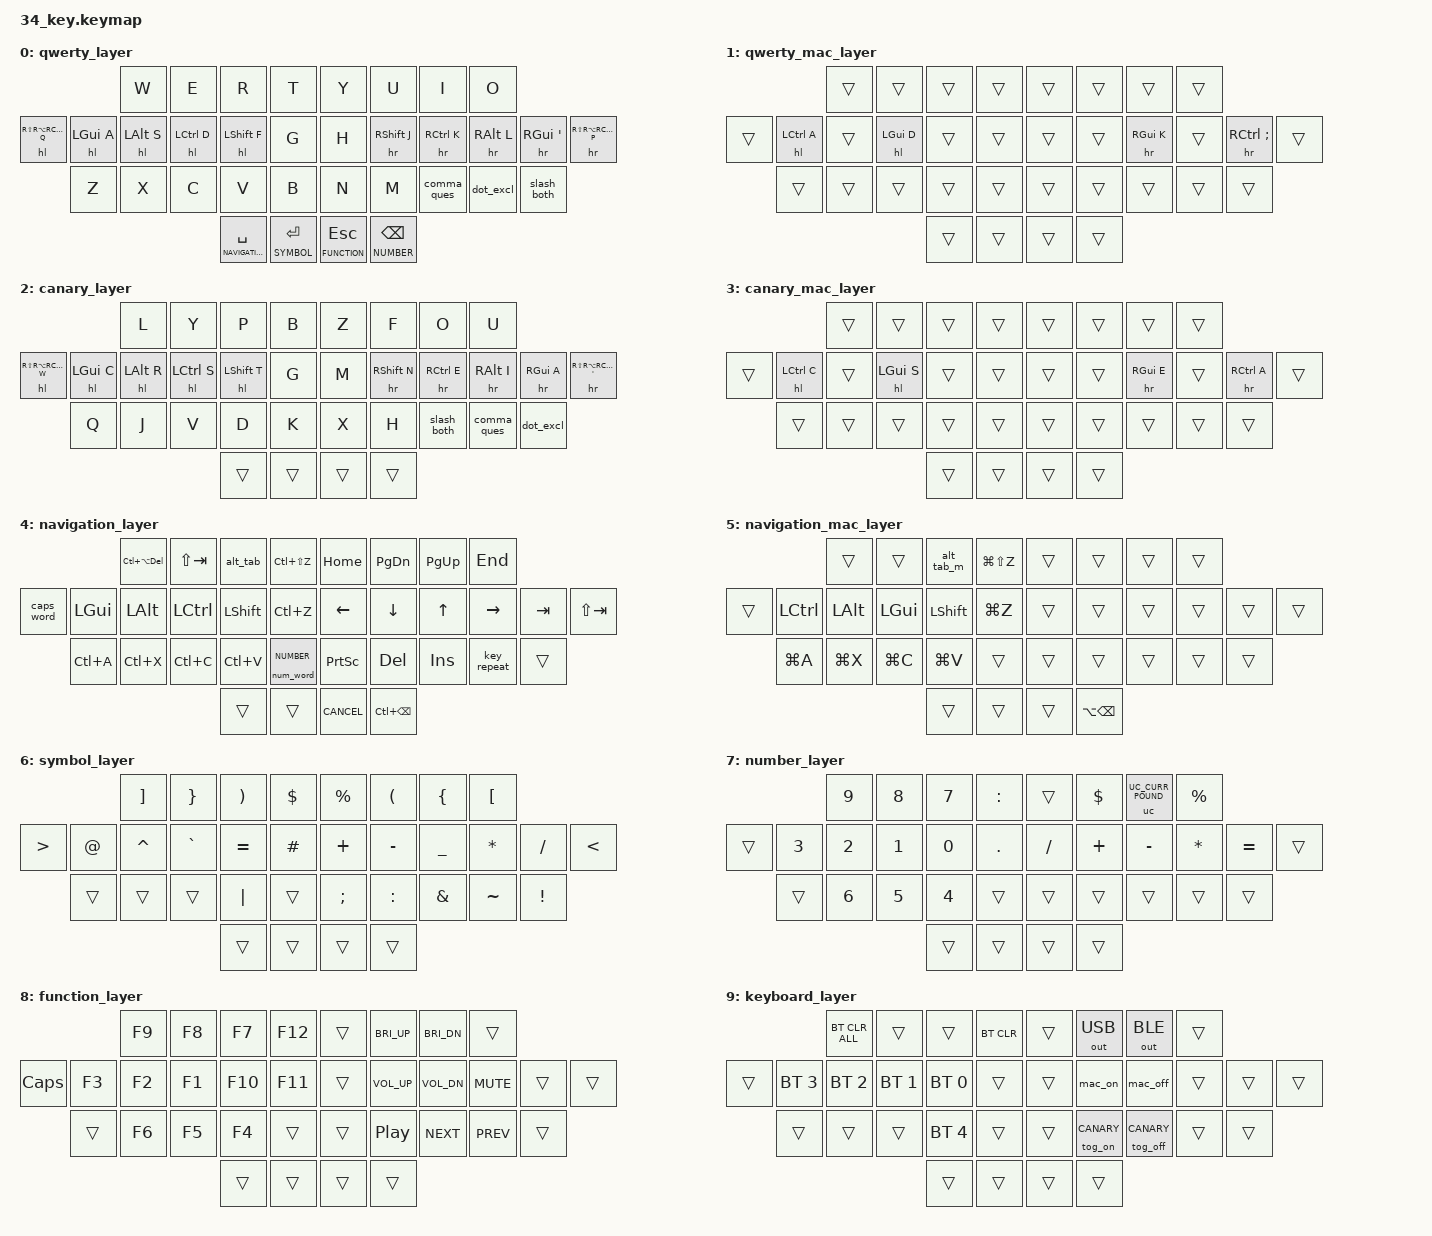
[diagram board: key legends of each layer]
#include <behaviors.dtsi>
#include <behaviors/unicode.dtsi>
#include <behaviors/num_word.dtsi>
#include <dt-bindings/zmk/keys.h>
#include <dt-bindings/zmk/bt.h>
#include <dt-bindings/zmk/outputs.h>
#include <dt-bindings/zmk/pointing.h>
#include "zmk-helpers/helper.h"
#include "clog.h"

#define KEYS_L LT0 LT1 LT2 LT3 LM0 LM1 LM2 LM3 LM4 LM5 LB0 LB1 LB2 LB3 LB4
#define KEYS_R RT0 RT1 RT2 RT3 RM0 RM1 RM2 RM3 RM4 RM5 RB0 RB1 RB2 RB3 RB4
#define KEYS_THUMB LH1 LH0 RH0 RH1

#define QWERTY         0
#define MAC            1
#define CANARY         2
#define CANARY_MAC     3
#define NAVIGATION     4
#define NAVIGATION_MAC 5
#define SYMBOL         6
#define NUMBER         7
#define FUNCTION       8
#define KEYBOARD       9

#define RHYP RS(RA(RC(RGUI)))

#define DEL_WORD &kp LC(BSPC)
#define DEL_WORD_M &kp LA(BSPC)

#define SEL_ALL &kp LC(A)
#define SEL_ALL_M &kp LG(A)

#define UNDO &kp LC(Z)
#define UNDO_M &kp LG(Z)

#define REDO &kp LC(LS(Z))
#define REDO_M &kp LG(LS(Z))

#define CUT &kp LC(X)
#define CUT_M &kp LG(X)

#define COPY &kp LC(C)
#define COPY_M &kp LG(C)

#define PASTE &kp LC(V)
#define PASTE_M &kp LG(V)

#define _ &trans
#define GBP UC_CURR_POUND

&uc {
  default-mode = <UC_MODE_WIN_ALT>;
};

&caps_word {
    continue-list = <UNDERSCORE MINUS BSPC DEL N0 N1 N2 N3 N4 N5 N6 N7 N8 N9 LGUI LALT LCTRL LSHFT LEFT DOWN UP RIGHT>;
};

&num_word {
    continue-list = <DOLLAR GBP DOT COMMA PLUS MINUS STAR FSLH EQUAL BSPC DEL LEFT DOWN UP RIGHT>;
    ignore-modifiers;
};

#define QUICK_TAP_MS 175
#define REQUIRE_PRIOR_IDLE_MS 100

&lt {
  flavor = "balanced";
  tapping-term-ms = <200>;
  quick-tap-ms = <QUICK_TAP_MS>;
};

ZMK_HOLD_TAP(hl,
    flavor = "balanced";
    tapping-term-ms = <280>;
    quick-tap-ms = <QUICK_TAP_MS>;
    require-prior-idle-ms = <REQUIRE_PRIOR_IDLE_MS>;
    bindings = <&kp>, <&kp>;
    hold-trigger-key-positions = <KEYS_R KEYS_THUMB>;
    hold-trigger-on-release;
)

ZMK_HOLD_TAP(hr,
    flavor = "balanced";
    tapping-term-ms = <280>;
    quick-tap-ms = <QUICK_TAP_MS>;
    require-prior-idle-ms = <REQUIRE_PRIOR_IDLE_MS>;
    bindings = <&kp>, <&kp>;
    hold-trigger-key-positions = <KEYS_L KEYS_THUMB>;
    hold-trigger-on-release;
)

ZMK_MOD_MORPH(dot_excl, bindings = <&kp DOT>, <&kp EXCL>; mods = <(MOD_LSFT|MOD_RSFT)>;)
ZMK_MOD_MORPH(comma_ques, bindings = <&kp COMMA>, <&kp QUESTION>; mods = <(MOD_LSFT|MOD_RSFT)>;)
ZMK_MOD_MORPH(slash_both, bindings = <&kp SLASH>, <&kp BACKSLASH>; mods = <(MOD_LSFT|MOD_RSFT)>;)

/ {
    behaviors {
        tog_on: toggle_layer_on_only {
            compatible = "zmk,behavior-toggle-layer";
            #binding-cells = <1>;
            toggle-mode = "on";
        };

        tog_off: toggle_layer_off_only {
            compatible = "zmk,behavior-toggle-layer";
            #binding-cells = <1>;
            toggle-mode = "off";
        };
    };
};

ZMK_MACRO(mac_on,
    bindings = <
        &tog_on MAC
        &uc UC_SET_MACOS
    >;
)

ZMK_MACRO(mac_off,
    bindings = <
        &tog_off MAC
        &uc UC_SET_WIN_ALT
    >;
)

ZMK_CONDITIONAL_LAYER(mac_navigation, MAC NAVIGATION, NAVIGATION_MAC)
ZMK_CONDITIONAL_LAYER(mac_canary, MAC CANARY, CANARY_MAC)

ZMK_CONDITIONAL_LAYER(kbd_layer, SYMBOL FUNCTION, KEYBOARD)

ZMK_TRI_STATE(alt_tab, bindings = <&kt LALT>, <&kp TAB>, <&kt LALT>; ignored-key-positions = <LT2 LT1 RM0 RM1 RM2 RM3>;)
ZMK_TRI_STATE(alt_tab_m, bindings = <&kt LCMD>, <&kp TAB>, <&kt LCMD>; ignored-key-positions = <LT2 LT1 RM0 RM1 RM2 RM3>;)

/ {
    keymap {
        compatible = "zmk,keymap";

        qwerty_layer {
            bindings = <
            //                      ╭──────────┬──────────┬──────────┬──────────╮   ╭──────────┬──────────┬──────────┬──────────╮
            //                      │  W       │  E       │  R       │  T       │   │  Y       │  U       │  I       │  O       │
                                       &kp W      &kp E      &kp R      &kp T          &kp Y      &kp U      &kp I      &kp O     
            //╭──────────┬──────────┼──────────┼──────────┼──────────┼──────────┤   ├──────────┼──────────┼──────────┼──────────┼──────────┬──────────╮
            //│  Q       │  A       │  S       │  D       │  F       │  G       │   │  H       │  J       │  K       │  L       │  ' "     │  P       │
              &hl RHYP Q &hl LGUI A &hl LALT S &hl LCTRL D &hl LSHFT F  &kp G         &kp H &hr RSHFT J &hr RCTRL K &hr RALT L &hr RGUI SQT &hr RHYP P
            //╰──────────┼──────────┼──────────┼──────────┼──────────┼──────────┤   ├──────────┼──────────┼──────────┼──────────┼──────────┼──────────╯
            //           │  Z       │  X       │  C       │  V       │  B       │   │  N       │  M       │ , ?      │ . !      │  / \     │
                            &kp Z      &kp X      &kp C      &kp V      &kp B          &kp N      &kp M    &comma_ques &dot_excl &slash_both
            //           ╰──────────┴──────────┴──────────┼──────────┼──────────┤   ├──────────┼──────────┼──────────┴──────────┴──────────╯
            //                                            │  SPACE   │  ENTER   │   │  ESCAPE  │BACKSPACE │
                                                    &lt NAVIGATION SPC &lt SYMBOL   ENTER &lt FUNCTION ESC &lt NUMBER BSPC
            //                                            ╰──────────┴──────────╯   ╰──────────┴──────────╯
            >;
        };

        qwerty_mac_layer {
            bindings = <
                _ _ _ _  _ _ _ _
                _ &hl LCTRL A _  &hl LGUI D _ _  _ _ &hr RGUI K _ &hr RCTRL SEMI _
                _ _ _ _ _  _ _ _ _ _
                _ _  _ _
            >;
        };

        canary_layer {
            bindings = <
            //                      ╭──────────┬──────────┬──────────┬──────────╮   ╭──────────┬──────────┬──────────┬──────────╮
            //                      │  L       │  Y       │  P       │  B       │   │  Z       │  F       │  O       │  U       │
                                       &kp L      &kp Y      &kp P      &kp B          &kp Z      &kp F      &kp O      &kp U     
            //╭──────────┬──────────┼──────────┼──────────┼──────────┼──────────┤   ├──────────┼──────────┼──────────┼──────────┼──────────┬──────────╮
            //│  W       │  C       │  R       │  S       │  T       │  G       │   │  M       │  N       │  E       │  I       │  A       │  ' "     │
              &hl RHYP W &hl LGUI C &hl LALT R &hl LCTRL S &hl LSHFT T  &kp G          &kp M &hr RSHFT N &hr RCTRL E &hr RALT I &hr RGUI A &hr RHYP SQT
            //╰──────────┼──────────┼──────────┼──────────┼──────────┼──────────┤   ├──────────┼──────────┼──────────┼──────────┼──────────┼──────────╯
            //           │  Q       │  J       │  V       │  D       │  K       │   │  X       │  H       │  / \     │ , ?      │ . !      │
                            &kp Q      &kp J      &kp V      &kp D      &kp K          &kp X      &kp H   &slash_both &comma_ques &dot_excl 
            //           ╰──────────┴──────────┴──────────┼──────────┼──────────┤   ├──────────┼──────────┼──────────┴──────────┴──────────╯
            //                                            │          │          │   │          │          │
                                                             _          _              _          _
            //                                            ╰──────────┴──────────╯   ╰──────────┴──────────╯
            >;
        };

        canary_mac_layer {
            bindings = <
                _ _ _ _  _ _ _ _
                _ &hl LCTRL C _  &hl LGUI S _ _  _ _ &hr RGUI E _ &hr RCTRL A _
                _ _ _ _ _  _ _ _ _ _
                _ _  _ _
            >;
        };

      
        navigation_layer {
            bindings = <
            //                      ╭──────────┬──────────┬──────────┬──────────╮   ╭──────────┬──────────┬──────────┬──────────╮
            //                      │ C+A+DEL  │ PREV WIN │ NEXT WIN │  REDO    │   │  HOME    │ PG DOWN  │  PG UP   │  END     │
                                &kp LC(LA(DEL)) &kp LS(TAB) &alt_tab    REDO          &kp HOME   &kp PG_DN  &kp PG_UP  &kp END      
            //╭──────────┬──────────┼──────────┼──────────┼──────────┼──────────┤   ├──────────┼──────────┼──────────┼──────────┼──────────┬──────────╮
            //│CAPS WORD │          │          │          │          │  UNDO    │   │  LEFT    │  DOWN    │  UP      │  RIGHT   │  TAB     │SHIFT+TAB │
               &caps_word  &kp LGUI   &kp LALT  &kp LCTRL  &kp LSHFT    UNDO          &kp LEFT   &kp DOWN    &kp UP   &kp RIGHT   &kp TAB   &kp LS(TAB) 
            //╰──────────┼──────────┼──────────┼──────────┼──────────┼──────────┤   ├──────────┼──────────┼──────────┼──────────┼──────────┼──────────╯
            //           │SELECT ALL│  CUT     │  COPY    │  PASTE   │ NUM WORD │   │ PRNTSCRN │  DELETE  │  INSERT  │  REPEAT  │          │
                           SEL_ALL     CUT        COPY       PASTE  &num_word NUMBER  &kp PSCRN   &kp DEL  &kp INSERT  &key_repeat  _ 
            //           ╰──────────┴──────────┴──────────█▀▀▀▀▀▀▀▀▀▀█──────────┤   ├──────────┼──────────┼──────────┴──────────┴──────────╯
            //                                            ▌          ▐          │   │  CANCEL  │ DEL WORD │
                                                             _          _           &kp K_CANCEL DEL_WORD
            //                                            ▙▄▄▄▄▄▄▄▄▄▄▟──────────╯   ╰──────────┴──────────╯
            >;
        };

        navigation_mac_layer {
            bindings = <
                _ _ &alt_tab_m REDO_M  _ _ _ _
                _ &kp LCTRL &kp LALT &kp LGUI &kp LSHFT UNDO_M  _ _ _ _ _ _
                SEL_ALL_M CUT_M COPY_M PASTE_M _  _ _ _ _ _
                _ _  _ DEL_WORD_M
            >;
        };

        symbol_layer {
            bindings = <
            //                      ╭──────────┬──────────┬──────────┬──────────╮   ╭──────────┬──────────┬──────────┬──────────╮
            //                      │  ]       │  }       │  )       │  $       │   │  %       │  (       │  {       │  [       │
                                      &kp RBKT   &kp RBRC   &kp RPAR  &kp DOLLAR     &kp PERCENT &kp LPAR   &kp LBRC   &kp LBKT 
            //╭──────────┬──────────┼──────────┼──────────┼──────────┼──────────┤   ├──────────┼──────────┼──────────┼──────────┼──────────┬──────────╮
            //│  >       │  @       │  ^       │  `       │  =       │  #       │   │  +       │  -       │  _       │  *       │  /       │  <       │
                 &kp GT     &kp AT    &kp CARET  &kp GRAVE  &kp EQUAL  &kp HASH       &kp PLUS   &kp MINUS  &kp UNDER  &kp ASTRK  &kp FSLH    &kp LT  
            //╰──────────┼──────────┼──────────┼──────────┼──────────┼──────────┤   ├──────────┼──────────┼──────────┼──────────┼──────────┼──────────╯
            //           │          │          │          │  |       │          │   │  ;       │  :       │  &       │  ~       │  !       │
                            _          _          _         &kp PIPE    _             &kp SEMI  &kp COLON   &kp AMPS  &kp TILDE   &kp EXCL  
            //           ╰──────────┴──────────┴──────────┤──────────█▀▀▀▀▀▀▀▀▀▀█   ├──────────┼──────────┼──────────┴──────────┴──────────╯
            //                                            │          ▌          ▐   │          │          │
                                                             _          _              _          _         
            //                                            ╰──────────▙▄▄▄▄▄▄▄▄▄▄▟   ╰──────────┴──────────╯
            >;
        };

        number_layer {
            bindings = <
            //                      ╭──────────┬──────────┬──────────┬──────────╮   ╭──────────┬──────────┬──────────┬──────────╮
            //                      │    9     │    8     │    7     │  :       │   │          │  $       │  £       │  %       │ 
                                       &kp N9     &kp N8     &kp N7   &kp COLON        _        &kp DOLLAR  &uc GBP  &kp PERCENT
            //╭──────────┬──────────┼──────────┼──────────┼──────────┼──────────┤   ├──────────┼──────────┼──────────┼──────────┼──────────┬──────────╮
            //│          │    3     │    2     │    1     │    0     │  .       │   │  /       │  +       │  -       │   *      │  =       │          │
                 _          &kp N3     &kp N2     &kp N1     &kp N0    &kp DOT       &kp SLASH   &kp PLUS  &kp MINUS  &kp ASTRK   &kp EQUAL   _
            //╰──────────┼──────────┼──────────┼──────────┼──────────┼──────────┤   ├──────────┼──────────┼──────────┼──────────┼──────────┼──────────╯
            //           │          │    6     │    5     │    4     │          │   │          │          │          │          │          │
                            _          &kp N6     &kp N5     &kp N4     _              _          _          _          _          _
            //           ╰──────────┴──────────┴──────────┤──────────┼──────────┼   ├──────────█▀▀▀▀▀▀▀▀▀▀█──────────┴──────────┴──────────╯
            //                                            │          │          │   │          ▌          ▐
                                                             _          _              _          _         
            //                                            ╰──────────┴──────────╯   ╰──────────▙▄▄▄▄▄▄▄▄▄▄▟
            >;
        };

        function_layer {
            bindings = <
            //                      ╭──────────┬──────────┬──────────┬──────────╮   ╭──────────┬──────────┬──────────┬──────────╮
            //                      │    F9    │    F8    │    F7    │   F12    │   │          │BRIGHT UP │BRIGHT DN │          │
                                       &kp F9     &kp F8     &kp F7    &kp F12         _      &kp C_BRI_UP &kp C_BRI_DN _       
            //╭──────────┬──────────┼──────────┼──────────┼──────────┼──────────┤   ├──────────┼──────────┼──────────┼──────────┼──────────┬──────────╮
            //│   CAPS   │   F3     │    F2    │    F1    │   F10    │   F11    │   │          │  VOL UP  │ VOL DOWN │  MUTE    │          │          │ 
                &kp CAPS    &kp F3     &kp F2     &kp F1    &kp F10    &kp F11         _       &kp C_VOL_UP &kp C_VOL_DN &kp C_MUTE _          _   
            //╰──────────┼──────────┼──────────┼──────────┼──────────┼──────────┤   ├──────────┼──────────┼──────────┼──────────┼──────────┼──────────╯
            //           │          │    F6    │    F5    │    F4    │          │   │          │PLAY/PAUSE│  NEXT    │ PREVIOUS │          │
                            _          &kp F6     &kp F5     &kp F4     _              _         &kp C_PP  &kp C_NEXT &kp C_PREV   _       
            //           ╰──────────┴──────────┴──────────┤──────────┼──────────┼   █▀▀▀▀▀▀▀▀▀▀█──────────┼──────────┴──────────┴──────────╯
            //                                            │          │          │   ▌          ▐          │
                                                             _          _              _          _         
            //                                            ╰──────────┴──────────╯   ▙▄▄▄▄▄▄▄▄▄▄▟──────────╯
            >;
        };

        keyboard_layer {
            bindings = <
            //                      ╭──────────┬──────────┬──────────┬──────────╮   ╭──────────┬──────────┬──────────┬──────────╮
            //                      │BT CLR ALL│          │          │  BT CLR  │   │          │ OUT USB  │ OUT BLE  │          │
                                  &bt BT_CLR_ALL  _          _        &bt BT_CLR       _      &out OUT_USB &out OUT_BLE _       
            //╭──────────┬──────────┼──────────┼──────────┼──────────┼──────────┤   ├──────────┼──────────┼──────────┼──────────┼──────────┬──────────╮
            //│          │  BT 3    │  BT 2    │  BT 1    │  BT 0    │          │   │          │ MAC ON   │ MAC OFF  │          │          │          │   
                 _   &bt BT_SEL 3  &bt BT_SEL 2 &bt BT_SEL 1 &bt BT_SEL 0  _           _         &mac_on    &mac_off    _          _          _
            //╰──────────┼──────────┼──────────┼──────────┼──────────┼──────────┤   ├──────────┼──────────┼──────────┼──────────┼──────────┼──────────╯
            //           │          │          │          │  BT 0    │          │   │          │  CANARY  │  QWERTY  │          │          │
                            _          _          _       &bt BT_SEL 4  _              _   &tog_on CANARY &tog_off CANARY _        _      
            //           ╰──────────┴──────────┴──────────┤──────────█▀▀▀▀▀▀▀▀▀▀█   █▀▀▀▀▀▀▀▀▀▀█──────────┼──────────┴──────────┴──────────╯
            //                                            │          ▌          ▐   ▌          ▐          │ 
                                                             _          _              _          _
            //                                            ╰──────────▙▄▄▄▄▄▄▄▄▄▄▟   ▙▄▄▄▄▄▄▄▄▄▄▟──────────╯ 
            >;
        };
    };
};
